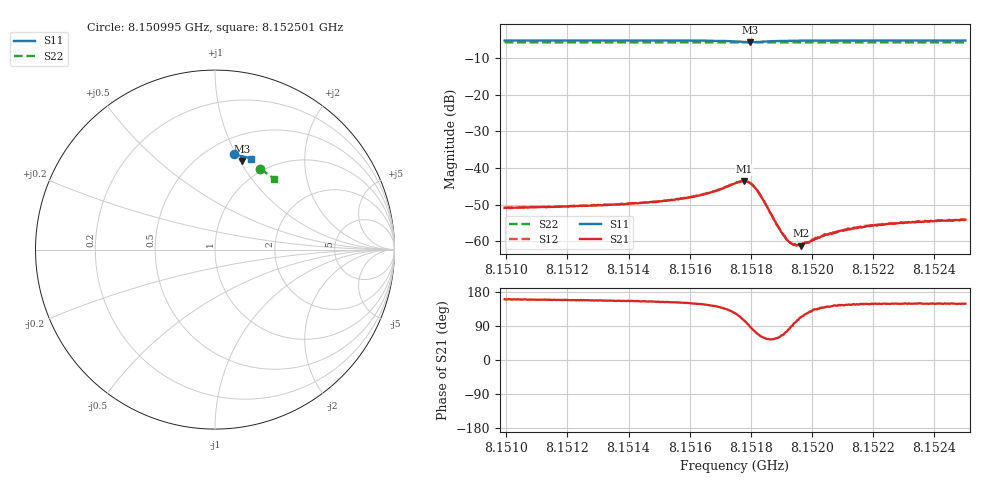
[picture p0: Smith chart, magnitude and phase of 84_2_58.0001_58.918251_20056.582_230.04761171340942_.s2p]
#  HZ  S  RI  R  50.00
! Rohde & Schwarz Vector Network Analyzer
! Rohde-Schwarz,ZNB20-2Port,1311601062101988,3.16
! Created: UTC 3/21/2024, 12:54:01 AM
! freq[Hz]  re:S11  im:S11  re:S21  im:S21  re:S12  im:S12  re:S22  im:S22
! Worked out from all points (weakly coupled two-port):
!   401 points, 8.150995 GHz to 8.152501 GHz, reference 50 ohm
!   highest |S21| = -43.62 dB at 8.151778 GHz (marker M1); lowest = -61.1 dB at 8.151963 GHz (marker M2)
!   lowest |S11| = -5.7 dB at 8.151797 GHz (marker M3), VSWR 3.13, Z = 37.9 + j51.1 ohm
!   |S11| at or under -10 dB: nowhere
!   |S22| runs from -5.8 to -5.8 dB; largest |S21 - S12| = 0.00013
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8.1509949e9  0.1034 0.5328  -0.00269 0.000965  -0.0027 0.001  0.2513 0.4488
8.1512472e9  0.1217 0.5292  -0.00281 0.00115  -0.00282 0.00121  0.2652 0.4401
8.1514995e9  0.1409 0.5243  -0.00311 0.00155  -0.00313 0.00159  0.2789 0.4313
8.1515936e9  0.149 0.5214  -0.00344 0.00195  -0.00342 0.00202  0.2839 0.4278
8.1516426e9  0.1537 0.5187  -0.00362 0.00236  -0.00361 0.00244  0.2866 0.4259
8.1516915e9  0.1589 0.5146  -0.00386 0.00316  -0.00383 0.00324  0.2891 0.424
8.151748e9  0.1626 0.5036  -0.00343 0.00514  -0.00336 0.00522  0.292 0.4215
8.1517781e9  0.1573 0.4953  -0.00161 0.00639  -0.00154 0.00646  0.2931 0.4201
8.151797e9  0.1498 0.494  0.000195 0.00624  0.000292 0.00628  0.2937 0.4195
8.151812e9  0.1443 0.497  0.00136 0.00529  0.00142 0.0053  0.2944 0.4192
8.1518271e9  0.1417 0.502  0.00187 0.0041  0.00191 0.00413  0.2951 0.4189
8.1518911e9  0.1484 0.5153  0.000764 0.00133  0.000811 0.00129  0.2987 0.417
8.1519175e9  0.1522 0.5167  0.000269 0.00101  0.000302 0.00103  0.3002 0.416
8.1519363e9  0.1548 0.5172  -3.17e-06 0.000915  6.05e-07 0.00091  0.3014 0.4151
8.1519513e9  0.1567 0.5173  -0.000233 0.000865  -0.000219 0.000841  0.3021 0.4146
8.1519626e9  0.1581 0.5175  -0.000333 0.00081  -0.000322 0.000841  0.3026 0.4142
8.1520003e9  0.162 0.5173  -0.000659 0.000777  -0.000682 0.000814  0.3046 0.4127
8.152038e9  0.1656 0.5168  -0.000886 0.000783  -0.00093 0.000814  0.3066 0.4113
8.1520982e9  0.1709 0.5158  -0.00116 0.000805  -0.00116 0.000846  0.3097 0.4088
8.152166e9  0.1764 0.5144  -0.00133 0.000834  -0.0013 0.000874  0.3131 0.406
8.1522526e9  0.1827 0.5126  -0.00148 0.000921  -0.00148 0.000928  0.3173 0.4027
8.1525011e9  0.2003 0.5066  -0.00169 0.00102  -0.00167 0.00107  0.3296 0.3922
